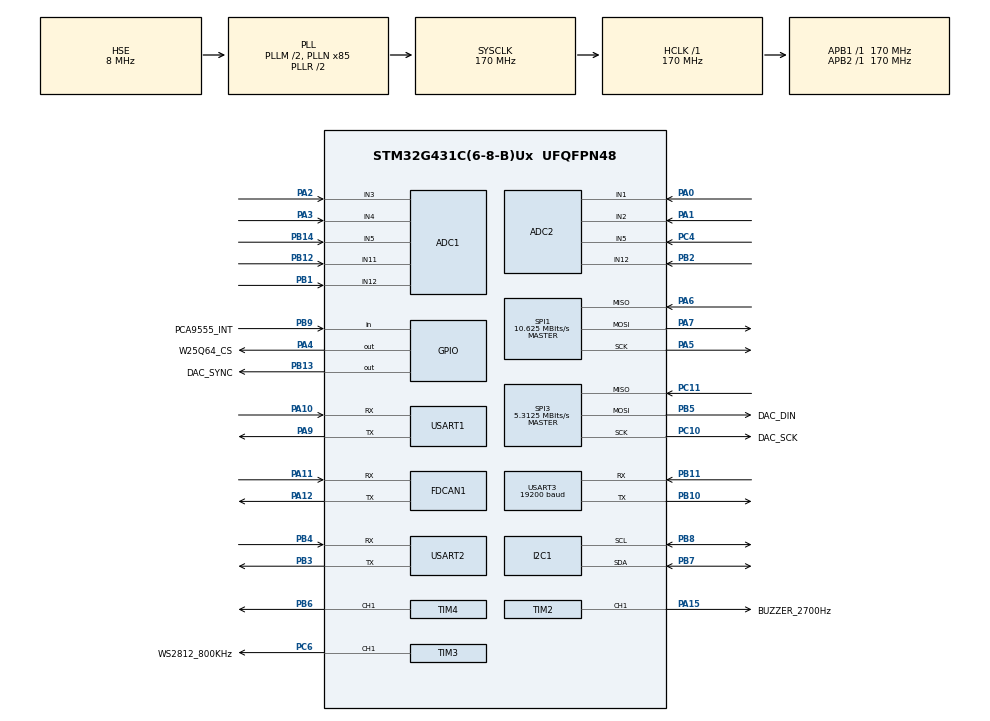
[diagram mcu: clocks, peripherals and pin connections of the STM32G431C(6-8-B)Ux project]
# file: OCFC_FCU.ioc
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ADC1.Channel-2\#ChannelRegularConversion=ADC_CHANNEL_3
ADC1.Channel-3\#ChannelRegularConversion=ADC_CHANNEL_4
ADC1.Channel-4\#ChannelRegularConversion=ADC_CHANNEL_5
ADC1.Channel-5\#ChannelRegularConversion=ADC_CHANNEL_11
ADC1.Channel-6\#ChannelRegularConversion=ADC_CHANNEL_12
ADC1.ClockPrescaler=ADC_CLOCK_ASYNC_DIV16
ADC1.ContinuousConvMode=ENABLE
ADC1.DMAContinuousRequests=ENABLE
ADC1.NbrOfConversion=5
ADC1.NbrOfConversionFlag=1
ADC1.OffsetNumber-2\#ChannelRegularConversion=ADC_OFFSET_NONE
ADC1.OffsetNumber-3\#ChannelRegularConversion=ADC_OFFSET_NONE
ADC1.OffsetNumber-4\#ChannelRegularConversion=ADC_OFFSET_NONE
ADC1.OffsetNumber-5\#ChannelRegularConversion=ADC_OFFSET_NONE
ADC1.OffsetNumber-6\#ChannelRegularConversion=ADC_OFFSET_NONE
ADC1.Rank-2\#ChannelRegularConversion=1
ADC1.Rank-3\#ChannelRegularConversion=2
ADC1.Rank-4\#ChannelRegularConversion=3
ADC1.Rank-5\#ChannelRegularConversion=4
ADC1.Rank-6\#ChannelRegularConversion=5
ADC1.SamplingTime-2\#ChannelRegularConversion=ADC_SAMPLETIME_640CYCLES_5
ADC1.SamplingTime-3\#ChannelRegularConversion=ADC_SAMPLETIME_640CYCLES_5
ADC1.SamplingTime-4\#ChannelRegularConversion=ADC_SAMPLETIME_640CYCLES_5
ADC1.SamplingTime-5\#ChannelRegularConversion=ADC_SAMPLETIME_640CYCLES_5
ADC1.SamplingTime-6\#ChannelRegularConversion=ADC_SAMPLETIME_640CYCLES_5
ADC1.master=1
ADC2.Channel-1\#ChannelRegularConversion=ADC_CHANNEL_1
ADC2.Channel-2\#ChannelRegularConversion=ADC_CHANNEL_2
ADC2.Channel-3\#ChannelRegularConversion=ADC_CHANNEL_5
ADC2.Channel-4\#ChannelRegularConversion=ADC_CHANNEL_12
ADC2.ClockPrescaler=ADC_CLOCK_ASYNC_DIV16
ADC2.ContinuousConvMode=ENABLE
ADC2.DMAContinuousRequests=ENABLE
ADC2.NbrOfConversion=4
ADC2.NbrOfConversionFlag=1
ADC2.OffsetNumber-1\#ChannelRegularConversion=ADC_OFFSET_NONE
ADC2.OffsetNumber-2\#ChannelRegularConversion=ADC_OFFSET_NONE
ADC2.OffsetNumber-3\#ChannelRegularConversion=ADC_OFFSET_NONE
ADC2.OffsetNumber-4\#ChannelRegularConversion=ADC_OFFSET_NONE
ADC2.Rank-1\#ChannelRegularConversion=1
ADC2.Rank-2\#ChannelRegularConversion=2
ADC2.Rank-3\#ChannelRegularConversion=3
ADC2.Rank-4\#ChannelRegularConversion=4
ADC2.SamplingTime-1\#ChannelRegularConversion=ADC_SAMPLETIME_640CYCLES_5
ADC2.SamplingTime-2\#ChannelRegularConversion=ADC_SAMPLETIME_640CYCLES_5
ADC2.SamplingTime-3\#ChannelRegularConversion=ADC_SAMPLETIME_640CYCLES_5
ADC2.SamplingTime-4\#ChannelRegularConversion=ADC_SAMPLETIME_640CYCLES_5
Dma.ADC1.0.Direction=DMA_PERIPH_TO_MEMORY
Dma.ADC1.0.EventEnable=DISABLE
Dma.ADC1.0.Instance=DMA1_Channel1
Dma.ADC1.0.MemDataAlignment=DMA_MDATAALIGN_HALFWORD
Dma.ADC1.0.MemInc=DMA_MINC_ENABLE
Dma.ADC1.0.Mode=DMA_CIRCULAR
Dma.ADC1.0.PeriphDataAlignment=DMA_PDATAALIGN_HALFWORD
Dma.ADC1.0.PeriphInc=DMA_PINC_DISABLE
Dma.ADC1.0.Polarity=HAL_DMAMUX_REQ_GEN_RISING
Dma.ADC1.0.Priority=DMA_PRIORITY_LOW
Dma.ADC1.0.RequestNumber=1
Dma.ADC1.0.SignalID=NONE
Dma.ADC1.0.SyncEnable=DISABLE
Dma.ADC1.0.SyncPolarity=HAL_DMAMUX_SYNC_NO_EVENT
Dma.ADC1.0.SyncRequestNumber=1
Dma.ADC1.0.SyncSignalID=NONE
Dma.ADC2.1.Direction=DMA_PERIPH_TO_MEMORY
Dma.ADC2.1.EventEnable=DISABLE
Dma.ADC2.1.Instance=DMA1_Channel2
Dma.ADC2.1.MemDataAlignment=DMA_MDATAALIGN_HALFWORD
Dma.ADC2.1.MemInc=DMA_MINC_ENABLE
Dma.ADC2.1.Mode=DMA_CIRCULAR
Dma.ADC2.1.PeriphDataAlignment=DMA_PDATAALIGN_HALFWORD
Dma.ADC2.1.PeriphInc=DMA_PINC_DISABLE
Dma.ADC2.1.Polarity=HAL_DMAMUX_REQ_GEN_RISING
Dma.ADC2.1.Priority=DMA_PRIORITY_LOW
Dma.ADC2.1.RequestNumber=1
Dma.ADC2.1.SignalID=NONE
Dma.ADC2.1.SyncEnable=DISABLE
Dma.ADC2.1.SyncPolarity=HAL_DMAMUX_SYNC_NO_EVENT
Dma.ADC2.1.SyncRequestNumber=1
Dma.ADC2.1.SyncSignalID=NONE
Dma.Request0=ADC1
Dma.Request1=ADC2
Dma.Request2=TIM3_CH1
Dma.Request3=USART1_RX
Dma.Request4=USART1_TX
Dma.Request5=USART2_RX
Dma.Request6=USART2_TX
Dma.Request7=USART3_RX
Dma.Request8=USART3_TX
Dma.TIM3_CH1.2.Direction=DMA_PERIPH_TO_MEMORY
Dma.TIM3_CH1.2.EventEnable=DISABLE
Dma.TIM3_CH1.2.Instance=DMA1_Channel3
Dma.TIM3_CH1.2.MemDataAlignment=DMA_MDATAALIGN_BYTE
Dma.TIM3_CH1.2.MemInc=DMA_MINC_ENABLE
Dma.TIM3_CH1.2.Mode=DMA_NORMAL
Dma.TIM3_CH1.2.PeriphDataAlignment=DMA_PDATAALIGN_HALFWORD
Dma.TIM3_CH1.2.PeriphInc=DMA_PINC_DISABLE
Dma.TIM3_CH1.2.Polarity=HAL_DMAMUX_REQ_GEN_RISING
Dma.TIM3_CH1.2.Priority=DMA_PRIORITY_LOW
Dma.TIM3_CH1.2.RequestNumber=1
Dma.TIM3_CH1.2.SignalID=NONE
Dma.TIM3_CH1.2.SyncEnable=DISABLE
Dma.TIM3_CH1.2.SyncPolarity=HAL_DMAMUX_SYNC_NO_EVENT
Dma.TIM3_CH1.2.SyncRequestNumber=1
Dma.TIM3_CH1.2.SyncSignalID=NONE
Dma.USART1_RX.3.Direction=DMA_PERIPH_TO_MEMORY
Dma.USART1_RX.3.EventEnable=DISABLE
Dma.USART1_RX.3.Instance=DMA1_Channel4
Dma.USART1_RX.3.MemDataAlignment=DMA_MDATAALIGN_BYTE
Dma.USART1_RX.3.MemInc=DMA_MINC_ENABLE
Dma.USART1_RX.3.Mode=DMA_NORMAL
Dma.USART1_RX.3.PeriphDataAlignment=DMA_PDATAALIGN_BYTE
Dma.USART1_RX.3.PeriphInc=DMA_PINC_DISABLE
Dma.USART1_RX.3.Polarity=HAL_DMAMUX_REQ_GEN_RISING
Dma.USART1_RX.3.Priority=DMA_PRIORITY_LOW
Dma.USART1_RX.3.RequestNumber=1
Dma.USART1_RX.3.SignalID=NONE
Dma.USART1_RX.3.SyncEnable=DISABLE
Dma.USART1_RX.3.SyncPolarity=HAL_DMAMUX_SYNC_NO_EVENT
Dma.USART1_RX.3.SyncRequestNumber=1
Dma.USART1_RX.3.SyncSignalID=NONE
Dma.USART1_TX.4.Direction=DMA_MEMORY_TO_PERIPH
Dma.USART1_TX.4.EventEnable=DISABLE
Dma.USART1_TX.4.Instance=DMA1_Channel5
Dma.USART1_TX.4.MemDataAlignment=DMA_MDATAALIGN_BYTE
Dma.USART1_TX.4.MemInc=DMA_MINC_ENABLE
Dma.USART1_TX.4.Mode=DMA_NORMAL
Dma.USART1_TX.4.PeriphDataAlignment=DMA_PDATAALIGN_BYTE
Dma.USART1_TX.4.PeriphInc=DMA_PINC_DISABLE
Dma.USART1_TX.4.Polarity=HAL_DMAMUX_REQ_GEN_RISING
Dma.USART1_TX.4.Priority=DMA_PRIORITY_LOW
Dma.USART1_TX.4.RequestNumber=1
Dma.USART1_TX.4.SignalID=NONE
Dma.USART1_TX.4.SyncEnable=DISABLE
Dma.USART1_TX.4.SyncPolarity=HAL_DMAMUX_SYNC_NO_EVENT
Dma.USART1_TX.4.SyncRequestNumber=1
Dma.USART1_TX.4.SyncSignalID=NONE
Dma.USART2_RX.5.Direction=DMA_PERIPH_TO_MEMORY
Dma.USART2_RX.5.EventEnable=DISABLE
Dma.USART2_RX.5.Instance=DMA1_Channel6
Dma.USART2_RX.5.MemDataAlignment=DMA_MDATAALIGN_BYTE
Dma.USART2_RX.5.MemInc=DMA_MINC_ENABLE
Dma.USART2_RX.5.Mode=DMA_NORMAL
Dma.USART2_RX.5.PeriphDataAlignment=DMA_PDATAALIGN_BYTE
Dma.USART2_RX.5.PeriphInc=DMA_PINC_DISABLE
Dma.USART2_RX.5.Polarity=HAL_DMAMUX_REQ_GEN_RISING
Dma.USART2_RX.5.Priority=DMA_PRIORITY_LOW
Dma.USART2_RX.5.RequestNumber=1
Dma.USART2_RX.5.SignalID=NONE
Dma.USART2_RX.5.SyncEnable=DISABLE
Dma.USART2_RX.5.SyncPolarity=HAL_DMAMUX_SYNC_NO_EVENT
Dma.USART2_RX.5.SyncRequestNumber=1
Dma.USART2_RX.5.SyncSignalID=NONE
Dma.USART2_TX.6.Direction=DMA_MEMORY_TO_PERIPH
Dma.USART2_TX.6.EventEnable=DISABLE
Dma.USART2_TX.6.Instance=DMA2_Channel1
Dma.USART2_TX.6.MemDataAlignment=DMA_MDATAALIGN_BYTE
Dma.USART2_TX.6.MemInc=DMA_MINC_ENABLE
Dma.USART2_TX.6.Mode=DMA_NORMAL
Dma.USART2_TX.6.PeriphDataAlignment=DMA_PDATAALIGN_BYTE
Dma.USART2_TX.6.PeriphInc=DMA_PINC_DISABLE
Dma.USART2_TX.6.Polarity=HAL_DMAMUX_REQ_GEN_RISING
Dma.USART2_TX.6.Priority=DMA_PRIORITY_LOW
Dma.USART2_TX.6.RequestNumber=1
Dma.USART2_TX.6.SignalID=NONE
Dma.USART2_TX.6.SyncEnable=DISABLE
Dma.USART2_TX.6.SyncPolarity=HAL_DMAMUX_SYNC_NO_EVENT
Dma.USART2_TX.6.SyncRequestNumber=1
Dma.USART2_TX.6.SyncSignalID=NONE
Dma.USART3_RX.7.Direction=DMA_PERIPH_TO_MEMORY
Dma.USART3_RX.7.EventEnable=DISABLE
Dma.USART3_RX.7.Instance=DMA2_Channel2
Dma.USART3_RX.7.MemDataAlignment=DMA_MDATAALIGN_BYTE
Dma.USART3_RX.7.MemInc=DMA_MINC_ENABLE
Dma.USART3_RX.7.Mode=DMA_NORMAL
Dma.USART3_RX.7.PeriphDataAlignment=DMA_PDATAALIGN_BYTE
Dma.USART3_RX.7.PeriphInc=DMA_PINC_DISABLE
Dma.USART3_RX.7.Polarity=HAL_DMAMUX_REQ_GEN_RISING
Dma.USART3_RX.7.Priority=DMA_PRIORITY_LOW
Dma.USART3_RX.7.RequestNumber=1
Dma.USART3_RX.7.SignalID=NONE
Dma.USART3_RX.7.SyncEnable=DISABLE
Dma.USART3_RX.7.SyncPolarity=HAL_DMAMUX_SYNC_NO_EVENT
Dma.USART3_RX.7.SyncRequestNumber=1
Dma.USART3_RX.7.SyncSignalID=NONE
Dma.USART3_TX.8.Direction=DMA_MEMORY_TO_PERIPH
Dma.USART3_TX.8.EventEnable=DISABLE
Dma.USART3_TX.8.Instance=DMA2_Channel3
Dma.USART3_TX.8.MemDataAlignment=DMA_MDATAALIGN_BYTE
Dma.USART3_TX.8.MemInc=DMA_MINC_ENABLE
Dma.USART3_TX.8.Mode=DMA_NORMAL
Dma.USART3_TX.8.PeriphDataAlignment=DMA_PDATAALIGN_BYTE
Dma.USART3_TX.8.PeriphInc=DMA_PINC_DISABLE
Dma.USART3_TX.8.Polarity=HAL_DMAMUX_REQ_GEN_RISING
Dma.USART3_TX.8.Priority=DMA_PRIORITY_LOW
Dma.USART3_TX.8.RequestNumber=1
Dma.USART3_TX.8.SignalID=NONE
Dma.USART3_TX.8.SyncEnable=DISABLE
Dma.USART3_TX.8.SyncPolarity=HAL_DMAMUX_SYNC_NO_EVENT
Dma.USART3_TX.8.SyncRequestNumber=1
Dma.USART3_TX.8.SyncSignalID=NONE
FDCAN1.CalculateBaudRateNominal=499999
FDCAN1.CalculateTimeBitNominal=2000
FDCAN1.CalculateTimeQuantumNominal=117.64705882352942
FDCAN1.ClockDivider=FDCAN_CLOCK_DIV1
FDCAN1.NominalPrescaler=20
FDCAN1.NominalTimeSeg1=12
FDCAN1.NominalTimeSeg2=4
FDCAN1.TxFifoQueueMode=FDCAN_TX_FIFO_OPERATION
FREERTOS.Tasks01=Top_Task,0,256,Start_Top_Task,As weak,NULL,Dynamic,NULL,NULL;ActiveExtIO_Tas,-3,128,Start_ActiveExtIO_Task02,As weak,NULL,Dynamic,NULL,NULL;Analog_Task03,-3,180,Start_Analog_Task03,As weak,NULL,Dynamic,NULL,NULL
FREERTOS.Timers01=RtosTimer01,RtosCallback01,osTimerPeriodic,As weak,NULL,Dynamic,NULL
FREERTOS.configTOTAL_HEAP_SIZE=16384
FREERTOS.configUSE_NEWLIB_REENTRANT=1
FREERTOS.configUSE_TIMERS=1
I2C1.Analog_Filter=I2C_ANALOGFILTER_ENABLE
I2C1.CustomTiming=Disabled
I2C1.Speed=100
IWDG.Prescaler=IWDG_PRESCALER_64
IWDG.Reload=1000
Mcu.Family=STM32G4
Mcu.Name=STM32G431C(6-8-B)Ux
Mcu.Package=UFQFPN48
NVIC.ADC1_2_IRQn=true\:5\:0\:false\:false\:true\:true\:true\:true\:true
NVIC.DMA1_Channel1_IRQn=true\:5\:0\:true\:false\:true\:true\:false\:true\:true
NVIC.DMA1_Channel2_IRQn=true\:5\:0\:true\:false\:true\:true\:false\:true\:true
NVIC.DMA1_Channel3_IRQn=true\:5\:0\:false\:false\:true\:true\:true\:true\:true
NVIC.DMA1_Channel4_IRQn=true\:5\:0\:false\:false\:true\:true\:false\:true\:true
NVIC.DMA1_Channel5_IRQn=true\:5\:0\:false\:false\:true\:true\:false\:true\:true
NVIC.DMA1_Channel6_IRQn=true\:5\:0\:false\:false\:true\:true\:false\:true\:true
NVIC.DMA2_Channel1_IRQn=true\:5\:0\:false\:false\:true\:true\:false\:true\:true
NVIC.DMA2_Channel2_IRQn=true\:5\:0\:false\:false\:true\:true\:false\:true\:true
NVIC.DMA2_Channel3_IRQn=true\:5\:0\:false\:false\:true\:true\:false\:true\:true
NVIC.FDCAN1_IT0_IRQn=true\:5\:0\:false\:false\:true\:true\:true\:true\:true
NVIC.FDCAN1_IT1_IRQn=true\:5\:0\:false\:false\:true\:true\:true\:true\:true
NVIC.PriorityGroup=NVIC_PRIORITYGROUP_4
NVIC.TIM1_UP_TIM16_IRQn=true\:5\:0\:true\:false\:true\:false\:false\:true\:true
NVIC.TIM7_IRQn=true\:7\:0\:true\:false\:true\:true\:true\:true\:true
NVIC.TimeBase=TIM1_UP_TIM16_IRQn
NVIC.TimeBaseIP=TIM1
NVIC.USART1_IRQn=true\:6\:0\:true\:false\:true\:true\:true\:true\:true
NVIC.USART2_IRQn=true\:7\:0\:true\:false\:true\:true\:true\:true\:true
NVIC.USART3_IRQn=true\:8\:0\:true\:false\:true\:true\:true\:true\:true
PA0.Mode=IN1-Single-Ended
PA0.Signal=ADC2_IN1
PA1.Mode=IN2-Single-Ended
PA1.Signal=ADC2_IN2
PA10.Mode=Asynchronous
PA10.Signal=USART1_RX
PA11.Mode=FDCAN_Activate
PA11.Signal=FDCAN1_RX
PA12.Mode=FDCAN_Activate
PA12.Signal=FDCAN1_TX
PA13.Mode=Serial_Wire
PA13.Signal=SYS_JTMS-SWDIO
PA14.Mode=Serial_Wire
PA14.Signal=SYS_JTCK-SWCLK
PA15.GPIO_Label=BUZZER_2700Hz
PA15.Signal=S_TIM2_CH1
PA2.Mode=IN3-Single-Ended
PA2.Signal=ADC1_IN3
PA3.Mode=IN4-Single-Ended
PA3.Signal=ADC1_IN4
PA4.GPIO_Label=W25Q64_CS
PA4.GPIO_Speed=GPIO_SPEED_FREQ_HIGH
PA4.PinState=GPIO_PIN_SET
PA4.Signal=GPIO_Output
PA5.Mode=Full_Duplex_Master
PA5.Signal=SPI1_SCK
PA6.Mode=Full_Duplex_Master
PA6.Signal=SPI1_MISO
PA7.Mode=Full_Duplex_Master
PA7.Signal=SPI1_MOSI
PA9.Mode=Asynchronous
PA9.Signal=USART1_TX
PB1.Mode=IN12-Single-Ended
PB1.Signal=ADC1_IN12
PB10.Mode=Asynchronous
PB10.Signal=USART3_TX
PB11.Mode=Asynchronous
PB11.Signal=USART3_RX
PB12.Mode=IN11-Single-Ended
PB12.Signal=ADC1_IN11
PB13.GPIO_Label=DAC_SYNC
PB13.GPIO_PuPd=GPIO_PULLUP
PB13.GPIO_Speed=GPIO_SPEED_FREQ_HIGH
PB13.PinState=GPIO_PIN_RESET
PB13.Signal=GPIO_Output
PB14.Mode=IN5-Single-Ended
PB14.Signal=ADC1_IN5
PB2.Mode=IN12-Single-Ended
PB2.Signal=ADC2_IN12
PB3.Mode=Asynchronous
PB3.Signal=USART2_TX
PB4.Mode=Asynchronous
PB4.Signal=USART2_RX
PB5.GPIO_Label=DAC_DIN
PB5.Mode=Full_Duplex_Master
PB5.Signal=SPI3_MOSI
PB6.Signal=S_TIM4_CH1
PB7.GPIO_Pu=GPIO_PULLUP
PB7.GPIO_Speed=GPIO_SPEED_FREQ_MEDIUM
PB7.Mode=I2C
PB7.Signal=I2C1_SDA
PB8-BOOT0.GPIO_FM8=__NULL
PB8-BOOT0.GPIO_Pu=GPIO_PULLUP
PB8-BOOT0.GPIO_Speed=GPIO_SPEED_FREQ_MEDIUM
PB8-BOOT0.Mode=I2C
PB8-BOOT0.Signal=I2C1_SCL
PB9.GPIO_Label=PCA9555_INT
PB9.GPIO_PuPd=GPIO_NOPULL
PB9.Signal=GPIO_Input
PC10.GPIO_Label=DAC_SCK
PC10.Mode=Full_Duplex_Master
PC10.Signal=SPI3_SCK
PC11.Mode=Full_Duplex_Master
PC11.Signal=SPI3_MISO
PC14-OSC32_IN.Mode=LSE-External-Oscillator
PC14-OSC32_IN.Signal=RCC_OSC32_IN
PC15-OSC32_OUT.Mode=LSE-External-Oscillator
PC15-OSC32_OUT.Signal=RCC_OSC32_OUT
PC4.Mode=IN5-Single-Ended
PC4.Signal=ADC2_IN5
PC6.GPIO_Label=WS2812_800KHz
PC6.Signal=S_TIM3_CH1
PF0-OSC_IN.Mode=HSE-External-Oscillator
PF0-OSC_IN.Signal=RCC_OSC_IN
PF1-OSC_OUT.Mode=HSE-External-Oscillator
PF1-OSC_OUT.Signal=RCC_OSC_OUT
ProjectManager.HeapSize=0x200
ProjectManager.StackSize=0x400
ProjectManager.TargetToolchain=STM32CubeIDE
RCC.ADC12CLockSelection=RCC_ADC12CLKSOURCE_PLL
RCC.ADC12Freq_Value=34000000
RCC.AHBFreq_Value=170000000
RCC.APB1Freq_Value=170000000
RCC.APB1TimFreq_Value=170000000
RCC.APB2Freq_Value=170000000
RCC.APB2TimFreq_Value=170000000
RCC.CortexFreq_Value=170000000
RCC.EXTERNAL_CLOCK_VALUE=12288000
RCC.HCLKFreq_Value=170000000
RCC.HSE_VALUE=8000000
RCC.HSI48_VALUE=48000000
RCC.HSI_VALUE=16000000
RCC.I2C1CLockSelection=RCC_I2C1CLKSOURCE_HSI
RCC.PLLM=RCC_PLLM_DIV2
RCC.PLLN=85
RCC.PLLP=RCC_PLLP_DIV10
RCC.PLLSourceVirtual=RCC_PLLSOURCE_HSE
RCC.RTCClockSelection=RCC_RTCCLKSOURCE_LSE
RCC.SYSCLKFreq_VALUE=170000000
RCC.SYSCLKSource=RCC_SYSCLKSOURCE_PLLCLK
RCC.USART1CLockSelection=RCC_USART1CLKSOURCE_HSI
RCC.USART2CLockSelection=RCC_USART2CLKSOURCE_HSI
RCC.USART3CLockSelection=RCC_USART3CLKSOURCE_HSI
RCC.USBFreq_Value=170000000
RCC.VCOOutputFreq_Value=340000000
RTC.HourFormat=RTC_HOURFORMAT_24
SH.S_TIM2_CH1.0=TIM2_CH1,PWM Generation1 CH1
SH.S_TIM3_CH1.0=TIM3_CH1,PWM Generation1 CH1
SH.S_TIM4_CH1.0=TIM4_CH1,PWM Generation1 CH1
SPI1.BaudRatePrescaler=SPI_BAUDRATEPRESCALER_16
SPI1.CalculateBaudRate=10.625 MBits/s
SPI1.DataSize=SPI_DATASIZE_8BIT
SPI1.Direction=SPI_DIRECTION_2LINES
SPI1.FirstBit=SPI_FIRSTBIT_LSB
SPI1.Mode=SPI_MODE_MASTER
SPI1.VirtualType=VM_MASTER
SPI3.BaudRatePrescaler=SPI_BAUDRATEPRESCALER_32
SPI3.CLKPhase=SPI_PHASE_2EDGE
SPI3.CalculateBaudRate=5.3125 MBits/s
SPI3.DataSize=SPI_DATASIZE_16BIT
SPI3.Direction=SPI_DIRECTION_2LINES
SPI3.Mode=SPI_MODE_MASTER
SPI3.VirtualType=VM_MASTER
TIM2.Channel-PWM\ Generation1\ CH1=TIM_CHANNEL_1
TIM2.PeriodNoDither=210-1
TIM2.Prescaler=300-1
TIM3.Channel-PWM\ Generation1\ CH1=TIM_CHANNEL_1
TIM3.PeriodNoDither=14-1
TIM3.Prescaler=15-1
TIM4.Channel-PWM\ Generation1\ CH1=TIM_CHANNEL_1
TIM4.PeriodNoDither=100-1
TIM4.Prescaler=68-1
TIM7.PeriodNoDither=9999
TIM7.Prescaler=16
USART1.VirtualMode-Asynchronous=VM_ASYNC
USART2.VirtualMode-Asynchronous=VM_ASYNC
USART3.BaudRate=19200
USART3.VirtualMode-Asynchronous=VM_ASYNC
VP_FREERTOS_VS_CMSIS_V1.Mode=CMSIS_V1
VP_IWDG_VS_IWDG.Mode=IWDG_Activate
VP_RTC_VS_RTC_Activate.Mode=RTC_Enabled
VP_SYS_VS_tim1.Mode=TIM1
VP_TIM2_VS_ClockSourceINT.Mode=Internal
VP_TIM3_VS_ClockSourceINT.Mode=Internal
VP_TIM4_VS_ClockSourceINT.Mode=Internal
VP_TIM7_VS_ClockSourceINT.Mode=Enable_Timer
board=custom

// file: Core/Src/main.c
/* USER CODE BEGIN Header */
/**
  ******************************************************************************
  * @file           : main.c
  * @brief          : Main program body
  ******************************************************************************
  * @attention
  *
  * Copyright (c) 2023 STMicroelectronics.
  * All rights reserved.
  *
  * This software is licensed under terms that can be found in the LICENSE file
  * in the root directory of this software component.
  * If no LICENSE file comes with this software, it is provided AS-IS.
  *
  ******************************************************************************
  */
/* USER CODE END Header */
#include "main.h"
#include "cmsis_os.h"
#include "adc.h"
#include "dma.h"
#include "fdcan.h"
#include "i2c.h"
#include "iwdg.h"
#include "rtc.h"
#include "spi.h"
#include "tim.h"
#include "usart.h"
#include "gpio.h"

/* USER CODE BEGIN Includes */
#include <string.h>

#include "rs485.h"
#include "rs232.h"
#include "DAC8568.h"
/* USER CODE END Includes */

/* USER CODE BEGIN PTD */
extern DateTime rtc_time;
/* USER CODE END PTD */

/* USER CODE BEGIN PV */
//extern I2C_HandleTypeDef hi2c1;
/* USER CODE END PV */

void SystemClock_Config(void);
void MX_FREERTOS_Init(void);
/* USER CODE BEGIN PFP */
void Systick_Configuration(void);

/* USER CODE END PFP */

int main(void)
{

  /* MCU Configuration--------------------------------------------------------*/

  /* Reset of all peripherals, Initializes the Flash interface and the Systick. */
  HAL_Init();

  /* Configure the system clock */
  SystemClock_Config();

  /* Initialize all configured peripherals */
  MX_GPIO_Init();
  MX_DMA_Init();
  MX_I2C1_Init();
  MX_SPI1_Init();
  MX_USART1_UART_Init();
  MX_USART3_UART_Init();
  MX_ADC1_Init();
  MX_ADC2_Init();
  MX_RTC_Init();
  MX_FDCAN1_Init();
  MX_TIM2_Init();
  MX_TIM3_Init();
  MX_TIM4_Init();
  MX_USART2_UART_Init();
  MX_IWDG_Init();
  MX_TIM7_Init();
  MX_SPI3_Init();
  /* USER CODE BEGIN 2 */
  /* Configure the SysTick timer to generate an interrupt every millisecond */
  Systick_Configuration();
  // 使能共模校准
  HAL_ADCEx_Calibration_Start(&hadc1, ADC_SINGLE_ENDED);
  HAL_ADCEx_Calibration_Start(&hadc2,  ADC_SINGLE_ENDED);
  dac8568_init();

  /* USER CODE END 2 */

  /* Call init function for freertos objects (in freertos.c) */
  MX_FREERTOS_Init();

  /* Start scheduler */
  osKernelStart();
  /* We should never get here as control is now taken by the scheduler */
  /* Infinite loop */
  /* USER CODE BEGIN WHILE */
  while (true)
  {

    /* USER CODE END WHILE */

  }
}

void SystemClock_Config(void)
{
  RCC_OscInitTypeDef RCC_OscInitStruct = {0};
  RCC_ClkInitTypeDef RCC_ClkInitStruct = {0};

  /** Configure the main internal regulator output voltage
  */
  HAL_PWREx_ControlVoltageScaling(PWR_REGULATOR_VOLTAGE_SCALE1_BOOST);

  /** Configure LSE Drive Capability
  */
  HAL_PWR_EnableBkUpAccess();
  __HAL_RCC_LSEDRIVE_CONFIG(RCC_LSEDRIVE_LOW);

  /** Initializes the RCC Oscillators according to the specified parameters
  * in the RCC_OscInitTypeDef structure.
  */
  RCC_OscInitStruct.OscillatorType = RCC_OSCILLATORTYPE_HSI|RCC_OSCILLATORTYPE_LSI
                              |RCC_OSCILLATORTYPE_HSE|RCC_OSCILLATORTYPE_LSE;
  RCC_OscInitStruct.HSEState = RCC_HSE_ON;
  RCC_OscInitStruct.LSEState = RCC_LSE_ON;
  RCC_OscInitStruct.HSIState = RCC_HSI_ON;
  RCC_OscInitStruct.HSICalibrationValue = RCC_HSICALIBRATION_DEFAULT;
  RCC_OscInitStruct.LSIState = RCC_LSI_ON;
  RCC_OscInitStruct.PLL.PLLState = RCC_PLL_ON;
  RCC_OscInitStruct.PLL.PLLSource = RCC_PLLSOURCE_HSE;
  RCC_OscInitStruct.PLL.PLLM = RCC_PLLM_DIV2;
  RCC_OscInitStruct.PLL.PLLN = 85;
  RCC_OscInitStruct.PLL.PLLP = RCC_PLLP_DIV10;
  RCC_OscInitStruct.PLL.PLLQ = RCC_PLLQ_DIV2;
  RCC_OscInitStruct.PLL.PLLR = RCC_PLLR_DIV2;
  if (HAL_RCC_OscConfig(&RCC_OscInitStruct) != HAL_OK)
  {
    Error_Handler();
  }

  /** Initializes the CPU, AHB and APB buses clocks
  */
  RCC_ClkInitStruct.ClockType = RCC_CLOCKTYPE_HCLK|RCC_CLOCKTYPE_SYSCLK
                              |RCC_CLOCKTYPE_PCLK1|RCC_CLOCKTYPE_PCLK2;
  RCC_ClkInitStruct.SYSCLKSource = RCC_SYSCLKSOURCE_PLLCLK;
  RCC_ClkInitStruct.AHBCLKDivider = RCC_SYSCLK_DIV1;
  RCC_ClkInitStruct.APB1CLKDivider = RCC_HCLK_DIV1;
  RCC_ClkInitStruct.APB2CLKDivider = RCC_HCLK_DIV1;

  if (HAL_RCC_ClockConfig(&RCC_ClkInitStruct, FLASH_LATENCY_4) != HAL_OK)
  {
    Error_Handler();
  }
}

/* USER CODE BEGIN 4 */

void Systick_Configuration(void)
{
	while (SysTick_Config(SystemCoreClock/1000)){}
	/* Configure the SysTick handler priority */
	NVIC_SetPriority(SysTick_IRQn, 0x0);
}

/* USER CODE END 4 */

void HAL_TIM_PeriodElapsedCallback(TIM_HandleTypeDef *htim)
{
  if (htim->Instance == TIM1) {
    HAL_IncTick();
  }
}

void Error_Handler(void)
{
  /* USER CODE BEGIN Error_Handler_Debug */
  /* User can add his own implementation to report the HAL error return state */
  __disable_irq();
  while (1)
  {
	  RS232_1_printf("Current tick: %d\n", HAL_GetTick());
  }
  /* USER CODE END Error_Handler_Debug */
}

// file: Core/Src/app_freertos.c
/* USER CODE BEGIN Header */
/**
  ******************************************************************************
  * File Name          : app_freertos.c
  * Description        : Code for freertos applications
  ******************************************************************************
  * @attention
  *
  * Copyright (c) 2023 STMicroelectronics.
  * All rights reserved.
  *
  * This software is licensed under terms that can be found in the LICENSE file
  * in the root directory of this software component.
  * If no LICENSE file comes with this software, it is provided AS-IS.
  *
  ******************************************************************************
  */
/* USER CODE END Header */

#include "FreeRTOS.h"
#include "task.h"
#include "main.h"
#include "cmsis_os.h"

/* USER CODE BEGIN Includes */
#include "usart.h"
#include "rtc.h"
#include "adc.h"
#include "i2c.h"
#include "adaptive_pid.h"

#include <string.h>

#include "rs485_display.h"
#include "rs485.h"
#include "rs232.h"
#include "fdcan.h"

#include "w25q64.h"

#include "DAC8568.h"
/* USER CODE END Includes */

/* USER CODE BEGIN PTD */
extern uint16_t CAN_RxID;
extern uint8_t CAN_RxDat[8];
extern uint8_t CAN_TtDat[8];

extern UART_ReceiveTypeDef uart1_receive;
extern UART_ReceiveTypeDef uart2_receive;
extern UART_ReceiveTypeDef uart3_receive;
//extern FDCAN_HandleTypeDef hfdcan1;
extern DateTime rtc_time;

AnalogInputs_TypeDef my_analog_inputs;
PCA9555_IO_Status_t ext_io_status;
SysControl_TypeDef sysControl;
DeviceStatus_t Sys_status = DEFAULT_SYS_STATUS;//默认上电状态
DeviceFlags_t Sys_flags = {false, false, false, false, false, false, false, false};

extern I2C_HandleTypeDef hi2c1;
extern IWDG_HandleTypeDef hiwdg;
extern TIM_HandleTypeDef htim4;
/* USER CODE END PTD */

/* USER CODE BEGIN Variables */
osThreadId Display_Task04Handle;
/* USER CODE END Variables */
osThreadId Top_TaskHandle;
osThreadId ActiveExtIO_TasHandle;
osThreadId Analog_Task03Handle;
osTimerId RtosTimer01Handle;

/* USER CODE BEGIN FunctionPrototypes */
void SysDataInit(void);
/* USER CODE END FunctionPrototypes */

void Start_Top_Task(void const * argument);
void Start_ActiveExtIO_Task02(void const * argument);
void Start_Analog_Task03(void const * argument);
void RtosCallback01(void const * argument);

void MX_FREERTOS_Init(void); /* (MISRA C 2004 rule 8.1) */

void MX_FREERTOS_Init(void) {

  /* Create the timer(s) */
  /* definition and creation of RtosTimer01 */
  osTimerDef(RtosTimer01, RtosCallback01);
  RtosTimer01Handle = osTimerCreate(osTimer(RtosTimer01), osTimerPeriodic, NULL);

  /* USER CODE BEGIN RTOS_TIMERS */
  osTimerStart(RtosTimer01Handle,10);
  /* start timers, add new ones, ... */
  /* USER CODE END RTOS_TIMERS */

  /* Create the thread(s) */
  /* definition and creation of Top_Task */
  osThreadDef(Top_Task, Start_Top_Task, osPriorityNormal, 0, 256);
  Top_TaskHandle = osThreadCreate(osThread(Top_Task), NULL);

  /* definition and creation of ActiveExtIO_Tas */
  osThreadDef(ActiveExtIO_Tas, Start_ActiveExtIO_Task02, osPriorityIdle, 0, 128);
  ActiveExtIO_TasHandle = osThreadCreate(osThread(ActiveExtIO_Tas), NULL);

  /* definition and creation of Analog_Task03 */
  osThreadDef(Analog_Task03, Start_Analog_Task03, osPriorityIdle, 0, 180);
  Analog_Task03Handle = osThreadCreate(osThread(Analog_Task03), NULL);

  /* USER CODE BEGIN RTOS_THREADS */

  //屏幕控制子程�?
//  osThreadDef(Display_Task04, Rs485_Display_Task04, osPriorityIdle, 0, 256);
//  Display_Task04Handle = osThreadCreate(osThread(Display_Task04), NULL);

  /* add threads, ... */
  /* USER CODE END RTOS_THREADS */

}

__weak void Start_Top_Task(void const * argument)
{
  /* USER CODE BEGIN Start_Top_Task */
  /* Infinite loop */
	// SysDataInit();

	FanControl_TypeDef fan_control;
	PID_Init(&(fan_control.pid), K_P, K_I, K_D, -1.0f, 1.0f, FAN_PWM_MAX_VALUE, -FAN_PWM_MAX_VALUE, 0.1f, 50.0f);
	/**
	* 设置温度和负载的阈值
	* 如果温度或负载超过了预设的阈值，
	* 就会触发PID控制算法，自动增加风扇的转速
	* 以防止温度继续上升或负载过大
	*/
	fan_control.temp_threshold = 30.0f;
	fan_control.load_threshold = 0.0f;
	// 设置初始风扇转速
	fan_control.fan_speed = 0;

	//排气阀开阀计时器
	uint32_t Exhaust_O_start_time = 0;
	uint32_t Exhaust_O_current_time = 0;
	//排气阀关阀计时器
	uint32_t Exhaust_C_start_time = 0;
	uint32_t Exhaust_C_current_time = 0;
	bool ExhaustFlag = false;

	osDelay(200);
	// 默认上电时，不启动进气风扇以及DCDC散热风扇
	sysControl.Expected_FC_Fan_Enable = 0;
	sysControl.Expected_Heatsink_Fan_Enable = 0;

	//获取系统时间
	uint32_t count = HAL_GetTick();

	uint8_t analogInputs_count = 0;

	while(true)
	{
		// 循环接收RS232的信息，并执行对应动作
		process_RS232_uart1_command();
		osDelay(20);
		// 更新风扇控制律
		//FanControl_Update(&fan_control, my_analog_inputs.FC_Internal_Temperature.Current_Val, 0);

		//FCU状态机
		switch(Sys_status) {
			case DEVICE_STOPPED://系统停机
				/*----------------单堆停机流程-------------------*/
				//如果系统正在运行,进入以下停机流程
				if(Sys_flags.device_started){

					getRtcDateTime(&rtc_time.year, &rtc_time.month, &rtc_time.day, &rtc_time.hour, &rtc_time.min, &rtc_time.sec, &rtc_time.ms);
					RS232_1_printf("<$-%04d/%02d/%02d-%02d:%02d:%02d.%03d-$>", rtc_time.year, rtc_time.month, rtc_time.day, rtc_time.hour, rtc_time.min, rtc_time.sec, rtc_time.ms);
					RS232_1_printf("System is shutting down! Please wait.....\n");

					// 1.设置总输出接触器使能标志为关闭，即关闭系统对外输出，但此处只更新标志，真正的使能在另外一个线程中
					// 由于是在另外一个线程中，所以可以认为进入osdelay函数以后，将进入另外一个线程，马上执行动作
					sysControl.Expected_Contactor_Load_Enable = false;
					osDelay(3000);
					//2.设置输出DCDC标志位为关闭
					sysControl.Expected_DCDC_Enable = false;
					osDelay(1000);
					//2.设置氢气进气阀为关闭状态
					sysControl.Expected_Hydrogen_Inlet_Valve_Enable = false;
					osDelay(2000);
					//3.风扇转速缓减到0
					while(sysControl.Expected_FC_Fan_Speed > 0){
						sysControl.Expected_FC_Fan_Speed --;
						osDelay(100);
					}
					//3.设置主风扇电源标志位为关闭
					sysControl.Expected_FC_Fan_Enable = false;
					//4.关闭电堆输出接触器
					sysControl.Expected_Contactor_Fc_Enable = false;
					//5.关闭DCDC散热风扇
					sysControl.Expected_Heatsink_Fan_Enable = false;
					//6.设置系统运行状态为关闭
					Sys_flags.device_started = false;

					getRtcDateTime(&rtc_time.year, &rtc_time.month, &rtc_time.day, &rtc_time.hour, &rtc_time.min, &rtc_time.sec, &rtc_time.ms);
					RS232_1_printf("<$-%04d/%02d/%02d-%02d:%02d:%02d.%03d-$>", rtc_time.year, rtc_time.month, rtc_time.day, rtc_time.hour, rtc_time.min, rtc_time.sec, rtc_time.ms);
					RS232_1_printf("System has shut down successfully.\n");
				}
			break;

			case DEVICE_RUNNING://系统启动
				/*-----------------单堆启动流程-----------------*/
				//如果系统未启动,进入以下单堆启动流程
				if(!Sys_flags.device_started){

					getRtcDateTime(&rtc_time.year, &rtc_time.month, &rtc_time.day, &rtc_time.hour, &rtc_time.min, &rtc_time.sec, &rtc_time.ms);
					RS232_1_printf("<$-%04d/%02d/%02d-%02d:%02d:%02d.%03d-$>", rtc_time.year, rtc_time.month, rtc_time.day, rtc_time.hour, rtc_time.min, rtc_time.sec, rtc_time.ms);

					RS232_1_printf("System is starting up! Please wait.....\n");
					//1.设置散热风扇使能标志位，注意，在此处仅仅只设置了标志位，真正的使能在另外一个线程中
					// 由于在另外一个线程中，所以可以认为，此处设置了标志位，马上在另外一个线程中执行动作
					sysControl.Expected_Heatsink_Fan_Enable = true;
					//2.散热风扇电源使能
					sysControl.Expected_FC_Fan_Enable = true;
					osDelay(1000);
					//  散热风扇转速设置为99
					sysControl.Expected_FC_Fan_Speed = 99;
					osDelay(500);
					//3.氢气进气阀使能
					sysControl.Expected_Hydrogen_Inlet_Valve_Enable = true;
					osDelay(1000);
					//4.电堆输出接触器使能
					sysControl.Expected_Contactor_Fc_Enable = true;
					osDelay(1000);
					//5.输出DCDC使能
					sysControl.Expected_DCDC_Enable = true;
					osDelay(1000);
					//6.总输出接触器使能，开始对外输出
					sysControl.Expected_Contactor_Load_Enable = true;
					//7.设置系统运行状态为启动
					Sys_flags.device_started = true;

					getRtcDateTime(&rtc_time.year, &rtc_time.month, &rtc_time.day, &rtc_time.hour, &rtc_time.min, &rtc_time.sec, &rtc_time.ms);
					RS232_1_printf("<$-%04d/%02d/%02d-%02d:%02d:%02d.%03d-$>", rtc_time.year, rtc_time.month, rtc_time.day, rtc_time.hour, rtc_time.min, rtc_time.sec, rtc_time.ms);
					RS232_1_printf("System has started successfully.\n");
				}

				// 非阻塞控制排气阀延时通断，即通过计时来开关
				// 如果排气阀是关闭状态
				uint16_t ex_peried = 7500, ex_time = 200;
				if(Sys_flags.host_command_enable){
					ex_peried = sysControl.Exhaust_Peried;
					ex_time = sysControl.Exhaust_Time;
				}else{
					ex_peried = FC_EXHAUST_PERIED;
					ex_time = FC_EXHAUST_TIME;
				}
				if(!ExhaustFlag){
					Exhaust_O_start_time = HAL_GetTick();// 获取当前系统时间，统计的是已经关阀的时间
					// 如果排气阀关闭时间超过了排气周期
					if ((Exhaust_O_start_time - Exhaust_O_current_time) >= ex_peried) {
						// 排气阀打开
						sysControl.Expected_Hydrogen_Exhaust_Valve_Enable = true;
						// 开始对开阀时间进行计时
						Exhaust_O_current_time = Exhaust_O_start_time;
						Exhaust_C_current_time = Exhaust_O_current_time;
						ExhaustFlag = true;
						// 显示在图形界面 useless
						//AnimationPlayFrame(1,7,DISPLAY_ICON_G);
					}
				// 如果排气阀是开启状态
				}else{
					Exhaust_C_start_time =  HAL_GetTick();// 获取当前系统时间，统计的是已经开阀的时间
					// 如果开阀时间超过了开阀时长
					if ((Exhaust_C_start_time - Exhaust_C_current_time) >= ex_time){
						// 排气阀关闭
						sysControl.Expected_Hydrogen_Exhaust_Valve_Enable = false;
						// 开始对关阀时间进行计时
						Exhaust_C_current_time = Exhaust_C_start_time;
						ExhaustFlag = false;
						//AnimationPlayFrame(1,7,DISPLAY_ICON_Y);
					}
				}

				//--------------------------单堆保护及风扇转速控制策略-------------------------------//
				// 循环检测电堆运行状态，不对则进行停机
				// 检测时间为 200ms 检测一次
				if(count + 200 <= HAL_GetTick())
				{
					//燃料电池电压低于FC_LOLO_V，或者电堆温度超过FC_HIHI_TEMP
					//关闭总输出接触器
					if(my_analog_inputs.FC_Internal_Temperature.Current_Val >= FC_HIHI_TEMP)
					{
						sysControl.Expected_Contactor_Fc_Enable = false;
					}
					else if(my_analog_inputs.Shunt_A_Voltage.Current_Val <= FC_LOLO_V)
					{
						// 如果采集次数大于20次就认为电压低于保护值，则触发保护
						analogInputs_count += 1;
						if(analogInputs_count >= 20)
						{
							sysControl.Expected_Contactor_Fc_Enable = false;
							analogInputs_count = 0;
						}
					}
					else
					{
						sysControl.Expected_Contactor_Fc_Enable =true;
						sysControl.Expected_Contactor_Load_Enable = true;
					}

					// 如果接收到上位机传送的风扇转速控制指令
					if(Sys_flags.host_command_enable)
					{
						if(sysControl.Host_FC_Fan_Speed>99)
							sysControl.Expected_FC_Fan_Speed = 99;
						else
							sysControl.Expected_FC_Fan_Speed = sysControl.Host_FC_Fan_Speed;
					}else{
						// 每隔0.2s对散热风扇进行转速控制，默认策略为查表法
						sysControl.Expected_FC_Fan_Speed = calculateFanSpeed(
							my_analog_inputs.FC_Internal_Temperature.Current_Val,
							my_analog_inputs.Shunt_B_Power.Current_Val);
					}

					count = HAL_GetTick();
				}
				break;

			case DEVICE_STANDBY://系统待机
				RS232_1_printf("Device is in standby mode\n");
				break;

			case DEVICE_ERROR://系统错误
				RS232_1_printf("Device is in error state\n");
				break;

			case DEVICE_FAULT://系统故障
				RS232_1_printf("Device is in fault state\n");
				break;

			default://未知设备状状态
				RS232_1_printf("Unknown device status\n");
				break;
		}
	}
  /* USER CODE END Start_Top_Task */
}

/* USER CODE BEGIN Header_Start_ActiveExtIO_Task02 */
/**
* @brief 外部iO控制线程，在此线程中，实时处理在顶层任务中，设置的标志位，执行标志位对应动作
* @param argument: Not used
* @retval None
*/
/* USER CODE END Header_Start_ActiveExtIO_Task02 */
__weak void Start_ActiveExtIO_Task02(void const * argument)
{
  /* USER CODE BEGIN Start_ActiveExtIO_Task02 */

	// 获取PCA9555的设备地址
	uint8_t pca9555_device_address = PCA9555_Get_Device_Address(PCA9555_A2, PCA9555_A1, PCA9555_A0, 0);

	for(uint8_t i = 0 ; i < 3 ; i++ ){
		// 初始化PCA9555
		PCA9555_Init(&hi2c1, pca9555_device_address);
		// 设置IO口模式 ,Port0是输出模式，Port1是输入模式
		PCA9555_Set_IO_Mode(&hi2c1, pca9555_device_address, 0x0080);
		osDelay(50);
		PCA9555_Write_IO_State(&hi2c1, pca9555_device_address, 0x0F);
	}
	ext_io_status.pca9555_current_state = 0x0F;
	ext_io_status.pca9555_expected_state = 0x0F;

	// 将系统控制状态同步到设置变量中

	// 散热风扇PWM占空比 0-100%
	uint8_t Current_FC_Fan_Speed = sysControl.Expected_FC_Fan_Speed;
	// 散热风扇使能状态
	bool Current_FC_Fan_Enable = sysControl.Expected_FC_Fan_Enable;
	// 当前总输出DCDC使能状态
	bool Current_DCDC_Enable = sysControl.Expected_DCDC_Enable;
	// DCDC散热风扇使能状态
	bool Current_Heatsink_Fan_Enable = sysControl.Expected_Heatsink_Fan_Enable;
	// 氢气进气阀工作状态
	bool Current_Hydrogen_Inlet_Valve_Enable = sysControl.Expected_Hydrogen_Inlet_Valve_Enable;
	// 排气阀工作状态
	bool Current_Hydrogen_Exhaust_Valve_Enable = sysControl.Expected_Hydrogen_Exhaust_Valve_Enable;
	// 电堆输出接触器使能状态
	bool Current_Contactor_Fc_Enable = sysControl.Expected_Contactor_Fc_Enable;
	// 总输出接触器使能状态
	bool Current_Contactor_Load_Enable = sysControl.Expected_Contactor_Load_Enable;

	FC_Fan_Close;
	Heatsink_Fan_Close;
	__HAL_TIM_SET_COMPARE(&htim4, TIM_CHANNEL_1, htim4.Init.Period - 10);

	/* Infinite loop */
	while(true){
		// 散热风扇转速状态更新
		if(sysControl.Expected_FC_Fan_Speed != Current_FC_Fan_Speed){
			if(sysControl.Expected_FC_Fan_Speed > 99) sysControl.Expected_FC_Fan_Speed = 99;
			// 将占空比取反,经过光耦再翻转为正占空比(定时器周期减去正占空比的值，即为负占空比值)
			__HAL_TIM_SET_COMPARE(&htim4, TIM_CHANNEL_1, htim4.Init.Period - map_0_to_100_to_12_to_100(sysControl.Expected_FC_Fan_Speed));
			Current_FC_Fan_Speed = sysControl.Expected_FC_Fan_Speed;
		}
		// 散热风扇使能状态更新
		// 如果上次风扇运行状态与当前设置状态不一致，即风扇运行状态发生了改变，则对风扇状态进行更新
		if(sysControl.Expected_FC_Fan_Enable != Current_FC_Fan_Enable){
			if(sysControl.Expected_FC_Fan_Enable){
				FC_Fan_Open;
				Current_FC_Fan_Enable = sysControl.Expected_FC_Fan_Enable;
			}else{
				FC_Fan_Close;
				Current_FC_Fan_Enable = sysControl.Expected_FC_Fan_Enable;
			}
		}
		// 输出DCDC使能状态更新
		if(sysControl.Expected_DCDC_Enable != Current_DCDC_Enable){
			if(sysControl.Expected_DCDC_Enable){
				DCDC_Open;
				Current_DCDC_Enable = sysControl.Expected_DCDC_Enable;
			}else{
				DCDC_Close;
				Current_DCDC_Enable = sysControl.Expected_DCDC_Enable;
			}
		}
		// DCDC散热风扇使能状态更新
		if(sysControl.Expected_Heatsink_Fan_Enable != Current_Heatsink_Fan_Enable){
			if(sysControl.Expected_Heatsink_Fan_Enable){
				Heatsink_Fan_Open;
				Current_Heatsink_Fan_Enable = sysControl.Expected_Heatsink_Fan_Enable;
			}else{
				Heatsink_Fan_Close;
				Current_Heatsink_Fan_Enable = sysControl.Expected_Heatsink_Fan_Enable;
			}
		}
		// 氢气进气阀使能状态更新
		if(sysControl.Expected_Hydrogen_Inlet_Valve_Enable != Current_Hydrogen_Inlet_Valve_Enable){
			if(sysControl.Expected_Hydrogen_Inlet_Valve_Enable){
				Hydrogen_Inlet_Valve_Open;
				Current_Hydrogen_Inlet_Valve_Enable = sysControl.Expected_Hydrogen_Inlet_Valve_Enable;
			}else{
				Hydrogen_Inlet_Valve_Close;
				Current_Hydrogen_Inlet_Valve_Enable = sysControl.Expected_Hydrogen_Inlet_Valve_Enable;
			}
		}
		// 氢气排气阀使能状态更新
		if(sysControl.Expected_Hydrogen_Exhaust_Valve_Enable != Current_Hydrogen_Exhaust_Valve_Enable){
			if(sysControl.Expected_Hydrogen_Exhaust_Valve_Enable){
				Hydrogen_Exhaust_Valve_Open;
				Current_Hydrogen_Exhaust_Valve_Enable = sysControl.Expected_Hydrogen_Exhaust_Valve_Enable;
			}else{
				Hydrogen_Exhaust_Valve_Close;
				Current_Hydrogen_Exhaust_Valve_Enable = sysControl.Expected_Hydrogen_Exhaust_Valve_Enable;
			}
		}
		// 电堆输出端接触器使能状态更新
		if(sysControl.Expected_Contactor_Fc_Enable != Current_Contactor_Fc_Enable){
			if(sysControl.Expected_Contactor_Fc_Enable){
				Contactor_Fc_Open;
				Current_Contactor_Fc_Enable = sysControl.Expected_Contactor_Fc_Enable;
			}else{
				Contactor_Fc_Close;
				Current_Contactor_Fc_Enable = sysControl.Expected_Contactor_Fc_Enable;
			}
		}
		// 总输出接触器使能状态更新
		if(sysControl.Expected_Contactor_Load_Enable != Current_Contactor_Load_Enable){
			if(sysControl.Expected_Contactor_Load_Enable){
				Contactor_Load_Open;
				Current_Contactor_Load_Enable = sysControl.Expected_Contactor_Load_Enable;
			}else{
				Contactor_Load_Close;
				Current_Contactor_Load_Enable = sysControl.Expected_Contactor_Load_Enable;
			}
		}
		// Pca9555输出管脚使能状态更新
		if(ext_io_status.pca9555_current_state != ext_io_status.pca9555_expected_state){
			PCA9555_Write_IO_State(&hi2c1, pca9555_device_address, ext_io_status.pca9555_expected_state);
			ext_io_status.pca9555_current_state = ext_io_status.pca9555_expected_state;
		}
		osDelay(1);
	}
  /* USER CODE END Start_ActiveExtIO_Task02 */
}

/* USER CODE BEGIN Header_Start_Analog_Task03 */
/**
* @brief ADC 数据采集线程
* @param argument: Not used
* @retval None
*/
/* USER CODE END Header_Start_Analog_Task03 */
__weak void Start_Analog_Task03(void const * argument)
{
  /* USER CODE BEGIN Start_Analog_Task03 */
	uint32_t count = HAL_GetTick();//获取系统时间

	//resetFlowMeter();//流量计累计
  /* Infinite loop */
	while(true)
	{
		// 读取所有AD通道AD值
		read_all_adc1_values(my_analog_inputs.adc1_values, 5);
		read_all_adc2_values(my_analog_inputs.adc2_values, 4);
		// AD值转换为物理值
		my_analog_inputs.Power_Voltage.Current_Val = convert_adc_to_voltage(my_analog_inputs.adc1_values[0], 3.262, 0.022);			//电压转换
		my_analog_inputs.External_Hydrogen_Concentration.Current_Val = my_analog_inputs.adc1_values[1] /40.96;						//浓度ppm
		my_analog_inputs.Hydrogen_Cylinder_Pressure.Current_Val = (( my_analog_inputs.adc1_values[2] * 0.001221) - 0.5 ) * 12.5 ;	//气压转换
		my_analog_inputs.FC_Internal_Temperature.Current_Val = Get_Tempture(my_analog_inputs.adc1_values[3],10000,10020); 			//堆内温度转换
		my_analog_inputs.FC_External_Temperature.Current_Val = Get_Tempture(my_analog_inputs.adc1_values[4],10000,10020); 			//堆外
		my_analog_inputs.Shunt_A_Current.Current_Val = convert_adc_to_current(my_analog_inputs.adc2_values[0], 3.264, 75);			// shunt A 电堆输出
		my_analog_inputs.Shunt_A_Voltage.Current_Val = convert_adc_to_voltage(my_analog_inputs.adc2_values[1], 3.262, 0.0214);
		my_analog_inputs.Shunt_B_Current.Current_Val = convert_adc_to_current(my_analog_inputs.adc2_values[2], 3.264, 75); 			// shunt B 负载输出
		my_analog_inputs.Shunt_B_Voltage.Current_Val = convert_adc_to_voltage(my_analog_inputs.adc2_values[3], 3.262, 0.0213);

		//实时功率与电能计转换
		my_analog_inputs.Shunt_A_Power.Current_Val = power_calculation(my_analog_inputs.Shunt_A_Voltage.Current_Val , my_analog_inputs.Shunt_A_Current.Current_Val);
		my_analog_inputs.Shunt_A_Total_Energy.Current_Val += energy_calculation(my_analog_inputs.Shunt_A_Power.Current_Val , SAMPLING_INTERVAL);
		my_analog_inputs.Shunt_B_Power.Current_Val = power_calculation(my_analog_inputs.Shunt_B_Voltage.Current_Val , my_analog_inputs.Shunt_B_Current.Current_Val);
		my_analog_inputs.Shunt_B_Total_Energy.Current_Val += energy_calculation(my_analog_inputs.Shunt_B_Power.Current_Val , SAMPLING_INTERVAL);

		/**
		 * 采样范围
		 * $PowV=			0-120.00V, 	倍率100		uint16_t
		 * $ExtHC=			0-100.00%,
		 * $HCP=			0-65.00Mpa,
		 * $FcTemp=			0-80.00℃,  倍率100
		 * $ExtTemp=		0-80.00℃,  倍率100
		 * $ShuntA_C=		0-100.00A,	倍率100
		 * $ShuntA_V=		0-120.00V,	倍率100
		 * $ShuntB_C=		0-100.00A,	倍率100
		 * $ShuntB_V=		0-120.00V,	倍率100
		 * $ShuntA_Power=0-100.00KW,	倍率100
		 * $ShuntA_Total=0-100.00KWh,	倍率100
		 * $ShuntB_Power=0-100.00KW,	倍率100
		 * $ShuntB_Total=0-100.00KWh,	倍率100
		 */

		//#ifdef RS485_FLOWMETER
		//if(count + DELAY_TIME <= HAL_GetTick()){
		//	  queryFlowMeter();//获取流量计瞬时与累计流量
		//    count = HAL_GetTick();
		//}
		//#endif

		#ifdef USE_DEBUG_ANALOG
		RS232_1_printf("$ADC1_0=%d,$ADC1_1=%d,$ADC1_2=%d,$ADC1_3=%d,$ADC1_4=%d,",
			  my_analog_inputs.adc1_values[0],
			  my_analog_inputs.adc1_values[1],
			  my_analog_inputs.adc1_values[2],
			  my_analog_inputs.adc1_values[3],
			  my_analog_inputs.adc1_values[4]
		);
		RS232_1_printf("$ADC2_0=%d,$ADC2_1=%d,$ADC2_2=%d,$ADC2_3=%d\r\n",
			  my_analog_inputs.adc2_values[0],
			  my_analog_inputs.adc2_values[1],
			  my_analog_inputs.adc2_values[2],
			  my_analog_inputs.adc2_values[3]
		);
		#endif

		//FDCAN1_Send_Msg(can_Tdat,FDCAN_DLC_BYTES_8);
		osDelay(SAMPLING_INTERVAL);
		HAL_IWDG_Refresh(&hiwdg);//喂狗 超过2s复位
	}
  /* USER CODE END Start_Analog_Task03 */
}

/* RtosCallback01 function */
__weak void RtosCallback01(void const * argument)
{
  /* USER CODE BEGIN RtosCallback01 */

	uint8_t CAN_TxDat[8];

	if(Sys_flags.sensor_trans_enable==true)
	{
		memset(CAN_TxDat, 0, sizeof(CAN_TxDat));
		convertFloatsToCANData(
			my_analog_inputs.Power_Voltage.Current_Val,
			my_analog_inputs.Hydrogen_Cylinder_Pressure.Current_Val,
			my_analog_inputs.FC_Internal_Temperature.Current_Val,
			my_analog_inputs.FC_External_Temperature.Current_Val,
			CAN_TxDat);
		FDCAN1_Send_Msg(CAN_TxDat, FDCAN_DLC_BYTES_8, 0x123);
		osDelay(1);
		memset(CAN_TxDat, 0, sizeof(CAN_TxDat));
		convertFloatsToCANData(
			my_analog_inputs.Shunt_A_Current.Current_Val,
			my_analog_inputs.Shunt_A_Voltage.Current_Val,
			my_analog_inputs.Shunt_B_Current.Current_Val,
			my_analog_inputs.Shunt_B_Voltage.Current_Val,
			CAN_TxDat);
		FDCAN1_Send_Msg(CAN_TxDat, FDCAN_DLC_BYTES_8, 0x124);
		osDelay(1);
		memset(CAN_TxDat, 0, sizeof(CAN_TxDat));
		convertFloatsToCANData(
			my_analog_inputs.Shunt_A_Power.Current_Val,
			my_analog_inputs.Shunt_A_Total_Energy.Current_Val,
			my_analog_inputs.Shunt_B_Power.Current_Val,
			my_analog_inputs.Shunt_B_Total_Energy.Current_Val,
			CAN_TxDat);
		FDCAN1_Send_Msg(CAN_TxDat, FDCAN_DLC_BYTES_8, 0x125);
		osDelay(1);
		memset(CAN_TxDat, 0, sizeof(CAN_TxDat));
	}
	if(Sys_flags.states_trans_enable == true){
		 memset(CAN_TxDat, 0, sizeof(CAN_TxDat));
		 CAN_TxDat[0] = (uint8_t)(Sys_flags.device_paused) +
		 				(uint8_t)(Sys_flags.device_started<<1) +
		 				(uint8_t)(Sys_flags.device_stopped<<2) +
		 				(uint8_t)(Sys_flags.device_error<<3) +
		 				(uint8_t)(Sys_flags.device_fault<<4) +
		 				(uint8_t)(Sys_flags.host_command_enable<<5) +
		 				(uint8_t)(Sys_flags.sensor_trans_enable<<6) +
		 				(uint8_t)(Sys_flags.states_trans_enable<<7);

		 CAN_TxDat[1] = (uint8_t)(sysControl.Expected_FC_Fan_Enable) +
		 				(uint8_t)(sysControl.Expected_DCDC_Enable<<1) +
		 				(uint8_t)(sysControl.Expected_Heatsink_Fan_Enable<<2) +
		 				(uint8_t)(sysControl.Expected_Hydrogen_Inlet_Valve_Enable<<3) +
		 				(uint8_t)(sysControl.Expected_Hydrogen_Exhaust_Valve_Enable<<4) +
		 				(uint8_t)(sysControl.Expected_Contactor_Fc_Enable<<5) +
		 				(uint8_t)(sysControl.Expected_Contactor_Load_Enable<<6);

		 CAN_TxDat[2] = (uint8_t)(sysControl.Exhaust_Peried>>8);
		 CAN_TxDat[3] = (uint8_t)(sysControl.Exhaust_Peried);

		 CAN_TxDat[4] = (uint8_t)(sysControl.Exhaust_Time>>8);
		 CAN_TxDat[5] = (uint8_t)(sysControl.Exhaust_Time);

		 uint16_t tmp = (uint16_t)(sysControl.Temperature_reference*10);
		 CAN_TxDat[6] = (uint8_t)(tmp>>2);
		 CAN_TxDat[7] = (uint8_t)(sysControl.Expected_FC_Fan_Speed<<2) +
		 				(uint8_t)(tmp&0x0003);
		 FDCAN1_Send_Msg(CAN_TxDat, FDCAN_DLC_BYTES_8, 0x122);
		 memset(CAN_TxDat, 0, sizeof(CAN_TxDat));
	}
  /* USER CODE END RtosCallback01 */
}

/* USER CODE BEGIN Application */

// void SysDataInit(void){
// 	sysControl.Expected_FC_Fan_Speed = 0;
// 	sysControl.Exhaust_Peried = FC_EXHAUST_PERIED;
// 	sysControl.Exhaust_Time = FC_EXHAUST_TIME;
// }
/* USER CODE END Application */
